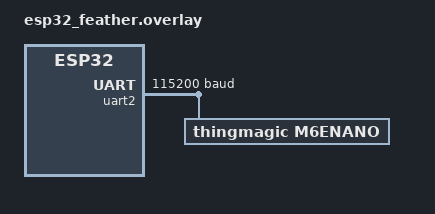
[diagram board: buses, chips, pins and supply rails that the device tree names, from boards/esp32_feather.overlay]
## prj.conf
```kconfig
# Enable custom device driver
CONFIG_UART_INTERRUPT_DRIVEN=y
CONFIG_SERIAL=y
CONFIG_M6E_NANO=y

# Logging
CONFIG_LOG=y
CONFIG_LOG_BACKEND_UART=y
```

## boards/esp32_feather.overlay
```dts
&uart2 {
    status = "okay";
    current-speed = <115200>;
    pinctrl-names = "default";
    m6enano {
        compatible = "thingmagic,m6enano";
    };
};

&pinctrl {
    uart2_default: uart2_default {
        group1 {
            pinmux = <UART2_TX_GPIO16>; // required for UART tx/rx swap
        };
        group2 {
            pinmux = <UART2_RX_GPIO17>; // required for UART tx/rx swap
            bias-pull-up;
        };
    };
};
```

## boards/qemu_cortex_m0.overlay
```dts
&uart0 {
    status = "okay";
    current-speed = <115200>;

    m6enano {
        compatible = "thingmagic,m6enano";
    };
};
```

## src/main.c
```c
#include <zephyr/kernel.h>
#include <zephyr/drivers/sensor.h>
#include <zephyr/drivers/uart.h>
#include <app_version.h>
#include <stdio.h>
#include <string.h>

#include <m6e_nano.h>

#include <zephyr/logging/log.h>
LOG_MODULE_REGISTER(main, CONFIG_APP_LOG_LEVEL);

#define TAG_TOTAL_LIMIT 100

struct counter {
	char tags[TAG_TOTAL_LIMIT][(12 * 2) + 1];
	uint32_t total;
};

static struct counter seen_tags = {
	.total = 0,
};

void array_to_string(uint8_t *buf, char *str)
{
	char *ptr = &str[0];

	for (int i = 0; i < 12; i++) {
		ptr += sprintf(ptr, "%02X", buf[i]);
	}
}

// void clear_callback(void *user_data)
// {
//     struct counter *tags = user_data;
//     tags->total = 0;
// }

void read_callback(const struct device *dev, void *user_data)
{
	const struct device *m6e_nano_dev = user_data;
	struct m6e_nano_data *drv_data = m6e_nano_dev->data;

	if (drv_data->status == RESPONSE_SUCCESS) {
		int res = m6e_nano_parse_response(user_data);
		char *res_str = "";
		switch (res) {
		case ERROR_CORRUPT_RESPONSE:
			res_str = "ERROR_CORRUPT_RESPONSE";
			break;
		case RESPONSE_IS_KEEPALIVE:
			res_str = "RESPONSE_IS_KEEPALIVE";
			seen_tags.total = 0;
			printk("Tag count: %d\n", seen_tags.total);
			break;
		case RESPONSE_IS_TAGFOUND:
			res_str = "RESPONSE_IS_TAGFOUND";

			uint8_t rssi =
				m6e_nano_get_tag_rssi(user_data); // Get the RSSI for tag read
			long freq = m6e_nano_get_tag_freq(
				user_data); // Get the frequency tag was detected at
			long timeStamp = m6e_nano_get_tag_timestamp(
				user_data); // Get the time (ms) since last keep-alive
			uint8_t tagEPCBytes = m6e_nano_get_tag_epc_bytes(user_data);

			char new_tag_str[(12 * 2) + 1];
			array_to_string(drv_data->response.data + 31, new_tag_str);
			printk("Tag found: %s\n", new_tag_str);
			printk("rssi: -%ddBm | freq: %ldHz | timestamp: %ldms | size %d\n", rssi,
			       freq, timeStamp, tagEPCBytes);
			int ret = 0;
			for (size_t i = 0; i < seen_tags.total; i++) {
				if (strcmp(seen_tags.tags[i], new_tag_str) == 0) {
					// printk("Tag already exists\n");
					ret = 1;
				}
			}

			if (ret == 1) {
				printk("Tag count: %d\n", seen_tags.total);
				break;
			} else {
				strcpy(seen_tags.tags[seen_tags.total], new_tag_str);
				seen_tags.total++;
				printk("Tag count: %d\n", seen_tags.total);
			}

			break;
		case ERROR_UNKNOWN_OPCODE:
			res_str = "ERROR_UNKNOWN_OPCODE";
			break;
		default:
			break;
		}
		LOG_INF("%s", res_str);

		drv_data->status = RESPONSE_CLEAR;
	}
}

int main(void)
{
	const struct device *dev = DEVICE_DT_GET_ONE(thingmagic_m6enano);

	m6e_nano_stop_reading(dev);

	LOG_INF("Setting baud rate...");

	m6e_nano_set_baud(dev, 115200);

	LOG_INF("Requesting hardware version...");
	m6e_nano_get_version(dev);

	LOG_INF("Setting tag protocol...");
	m6e_nano_set_tag_protocol(dev, TMR_TAG_PROTOCOL_GEN2);

	LOG_INF("Setting antenna port...");
	m6e_nano_set_antenna_port(dev);

	LOG_INF("Setting RF region...");
	m6e_nano_set_region(dev, REGION_EUROPE);

	LOG_INF("Setting read power...");
	if (CONFIG_M6E_NANO_DEFAULT_POWER) {
		LOG_INF("Read power set to KConfig: %d", CONFIG_M6E_NANO_DEFAULT_POWER);
		m6e_nano_set_read_power(dev, CONFIG_M6E_NANO_DEFAULT_POWER);
	} else {
		m6e_nano_set_read_power(dev, 1000);
	}

	LOG_INF("Setting power mode...");
	m6e_nano_set_power_mode(dev, TMR_SR_POWER_MODE_MED_SAVE);

	LOG_INF("Start reading...");
	m6e_nano_start_reading(dev);

	m6e_nano_set_callback(dev, read_callback, &seen_tags);

	return 0;
}

// Headers      Status     Bootloader
// hFF h14 h03 | h00 h00 | h14 h12 h08 h00 h30 | h00 h00 h02 h20 h22 h08 | h04 h01 h0B h01 h25 h00
// h00 h00 h10 | h79 h62
```
